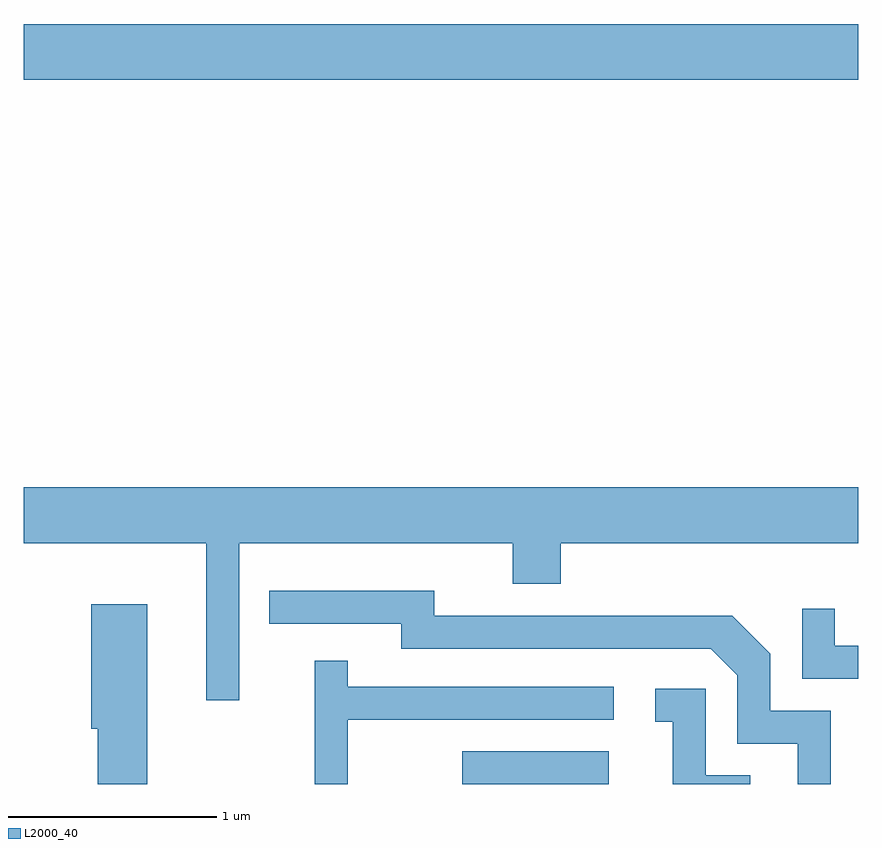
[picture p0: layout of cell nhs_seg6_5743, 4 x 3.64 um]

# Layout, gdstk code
import gdstk
lib = gdstk.Library(unit=1e-6, precision=1e-09)
def R(c, l, rs):  # rectangles x0, y0, x1, y1
    for r in rs: c.add(gdstk.rectangle(r[:2], r[2:], *l))
def P(c, l, *ps):  # polygons
    for p in ps: c.add(gdstk.Polygon(p, *l))
L2000_40 = (2000, 40)

nhs_seg6_5743 = lib.new_cell('nhs_seg6_5743')
R(nhs_seg6_5743, L2000_40, [(361.713,1602.162,362.414,1602.319), (359.611,1605.536,363.611,1605.804)])
P(nhs_seg6_5743, L2000_40, [(360.644,1603.316),(361.956,1603.316),(361.956,1603.121),(362.184,1603.121),(362.184,1603.316),(363.611,1603.316),(363.611,1603.584),(359.611,1603.584),(359.611,1603.316),(360.486,1603.316),(360.486,1602.563),(360.644,1602.563)],
  [(363.479,1602.514),(363.189,1602.514),(363.189,1602.787),(363.007,1602.969),(361.579,1602.969),(361.579,1603.089),(360.788,1603.089),(360.788,1602.931),(361.421,1602.931),(361.421,1602.811),(362.904,1602.811),(363.031,1602.684),(363.031,1602.356),(363.321,1602.356),(363.321,1602.162),(363.479,1602.162)],
  [(360.204,1603.024),(359.936,1603.024),(359.936,1602.426),(359.966,1602.426),(359.966,1602.162),(360.204,1602.162)],
  [(363.611,1602.824),(363.499,1602.824),(363.499,1603.003),(363.341,1603.003),(363.341,1602.666),(363.611,1602.666)],
  [(361.164,1602.471),(362.438,1602.471),(362.438,1602.629),(361.164,1602.629),(361.164,1602.753),(361.006,1602.753),(361.006,1602.162),(361.164,1602.162)],
  [(363.094,1602.204),(362.879,1602.204),(362.879,1602.619),(362.638,1602.619),(362.638,1602.461),(362.721,1602.461),(362.721,1602.162),(363.094,1602.162)])

lib.write_gds('nhs_seg6_5743.gds')
